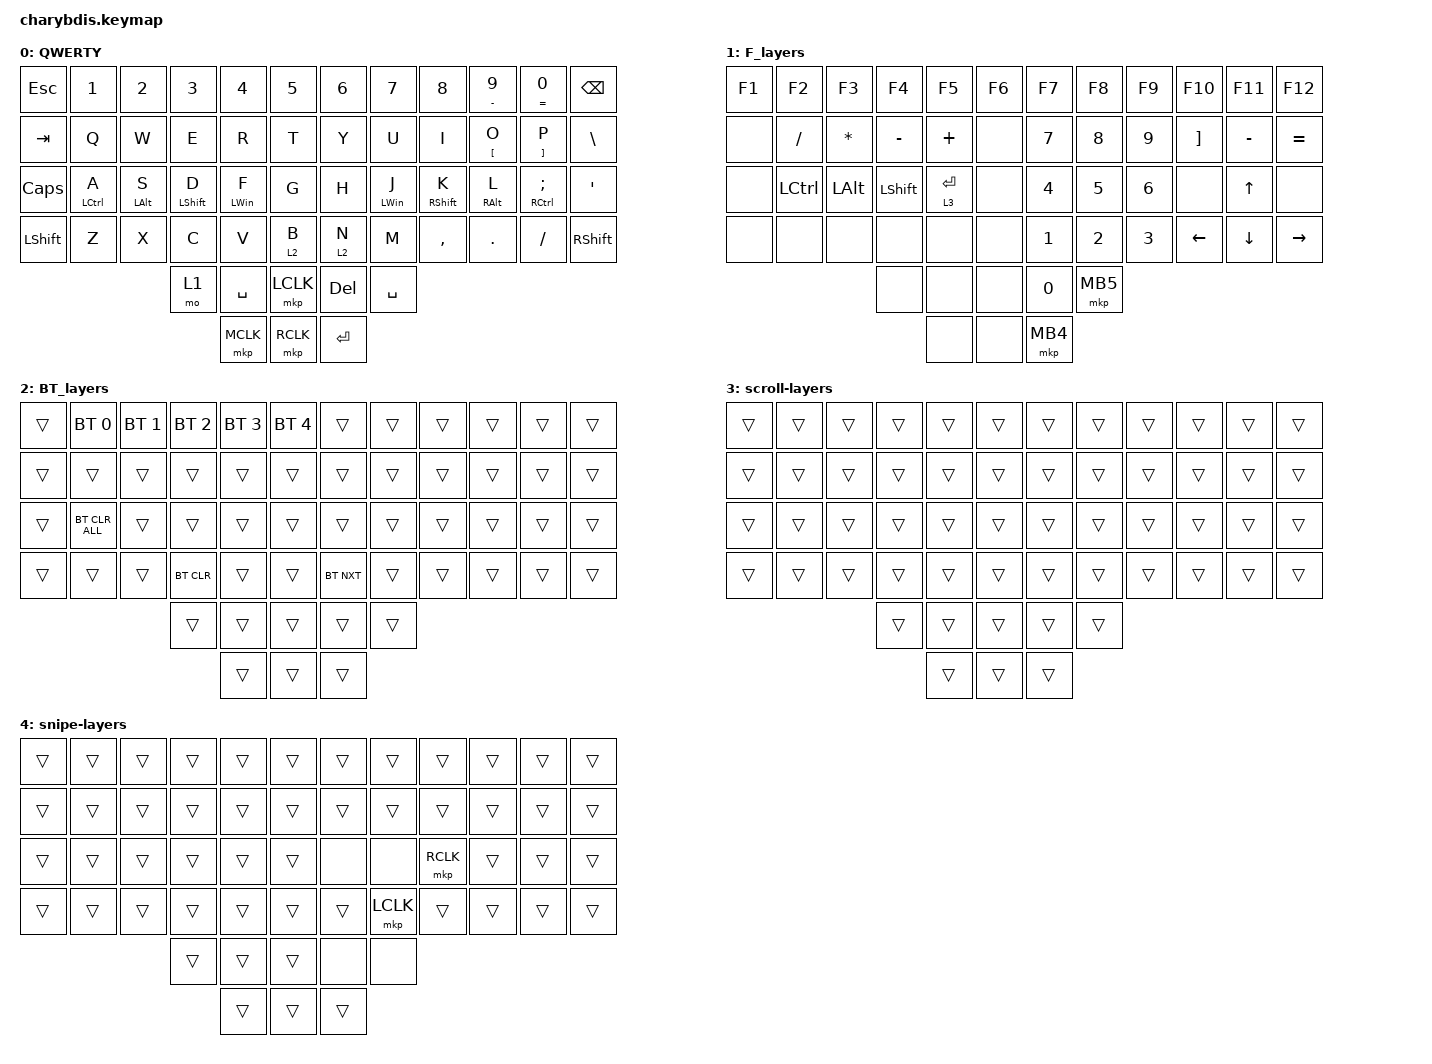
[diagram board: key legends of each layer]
#include <behaviors.dtsi>
#include <dt-bindings/zmk/bt.h>
#include <dt-bindings/zmk/keys.h>
#include <dt-bindings/zmk/pointing.h>
#include <dt-bindings/zmk/rgb.h>

&lt {
    tapping-term-ms = <200>;
    flavor = "tap-preferred";
    quick-tap-ms = <150>;
};

/ {
    macros {
        To1_macro: To1_macro {
            compatible = "zmk,behavior-macro";
            label = "To1_macro";
            #binding-cells = <0>;
            bindings = <&rgb_ug RGB_EFF &rgb_ug RGB_COLOR_HSB(128,100,50) &to 1>;
        };

        To0_macro: To0_macro {
            compatible = "zmk,behavior-macro";
            label = "To0_macro";
            #binding-cells = <0>;
            bindings = <&rgb_ug RGB_EFR &to 0>;
        };

        To2_macro: To2_macro {
            compatible = "zmk,behavior-macro";
            label = "To2_macro";
            #binding-cells = <0>;
            bindings =
                <&to 2>,
                <&macro_wait_time 30>,
                <&rgb_ug RGB_COLOR_HSB(250,100,50)>;
        };
    };

    keymap {
        compatible = "zmk,keymap";

        QWERTY {
            bindings = <
&kp ESC         &kp N1       &kp N2          &kp N3            &kp N4          &kp N5       &kp N6      &kp N7          &kp N8             &mt MINUS N9     &mt EQUAL N0         &kp BACKSPACE
&kp TAB         &kp Q        &kp W           &kp E             &kp R           &kp T        &kp Y       &kp U           &kp I              &mt LBKT O       &mt RIGHT_BRACKET P  &kp BSLH
&kp CAPSLOCK    &mt LCTRL A  &mt LEFT_ALT S  &mt LEFT_SHIFT D  &mt LEFT_WIN F  &kp G        &kp H       &mt LEFT_WIN J  &mt RIGHT_SHIFT K  &mt RIGHT_ALT L  &mt RCTRL SEMI       &kp SQT
&kp LEFT_SHIFT  &kp Z        &kp X           &kp C             &kp V           &lt 2 B      &lt 2 N     &kp M           &kp COMMA          &kp DOT          &kp FSLH             &kp RIGHT_SHIFT
                                             &mo 1             &kp SPACE       &mkp LCLK    &kp DELETE  &kp SPACE
                                                               &mkp MCLK       &mkp RCLK    &kp ENTER
            >;
        };

        F_layers {
            bindings = <
&kp F1  &kp F2     &kp F3        &kp F4      &kp F5       &kp F6    &kp F7        &kp F8        &kp F9        &kp F10   &kp F11    &kp F12
&none   &kp FSLH   &kp ASTERISK  &kp MINUS   &kp PLUS     &none     &kp N7        &kp N8        &kp N9        &kp RBKT  &kp MINUS  &kp EQUAL
&none   &kp LCTRL  &kp LEFT_ALT  &kp LSHIFT  &lt 3 ENTER  &none     &kp NUMBER_4  &kp N5        &kp NUMBER_6  &none     &kp UP     &none
&none   &none      &none         &none       &none        &none     &kp NUMBER_1  &kp NUMBER_2  &kp NUMBER_3  &kp LEFT  &kp DOWN   &kp RIGHT
                                 &none       &none        &none     &kp N0        &mkp MB5
                                             &none        &none     &mkp MB4
            >;
        };

        BT_layers {
            bindings = <
&trans  &bt BT_SEL 0    &bt BT_SEL 1  &bt BT_SEL 2  &bt BT_SEL 3  &bt BT_SEL 4    &trans      &trans  &trans  &trans  &trans  &trans
&trans  &trans          &trans        &trans        &trans        &trans          &trans      &trans  &trans  &trans  &trans  &trans
&trans  &bt BT_CLR_ALL  &trans        &trans        &trans        &trans          &trans      &trans  &trans  &trans  &trans  &trans
&trans  &trans          &trans        &bt BT_CLR    &trans        &trans          &bt BT_NXT  &trans  &trans  &trans  &trans  &trans
                                      &trans        &trans        &trans          &trans      &trans
                                                    &trans        &trans          &trans
            >;
        };

        scroll-layers {
            bindings = <
&trans  &trans  &trans  &trans  &trans  &trans    &trans  &trans  &trans  &trans  &trans  &trans
&trans  &trans  &trans  &trans  &trans  &trans    &trans  &trans  &trans  &trans  &trans  &trans
&trans  &trans  &trans  &trans  &trans  &trans    &trans  &trans  &trans  &trans  &trans  &trans
&trans  &trans  &trans  &trans  &trans  &trans    &trans  &trans  &trans  &trans  &trans  &trans
                        &trans  &trans  &trans    &trans  &trans
                                &trans  &trans    &trans
            >;
        };

        snipe-layers {
            bindings = <
&trans  &trans  &trans  &trans  &trans  &trans    &trans  &trans     &trans     &trans  &trans  &trans
&trans  &trans  &trans  &trans  &trans  &trans    &trans  &trans     &trans     &trans  &trans  &trans
&trans  &trans  &trans  &trans  &trans  &trans    &none   &none      &mkp RCLK  &trans  &trans  &trans
&trans  &trans  &trans  &trans  &trans  &trans    &trans  &mkp LCLK  &trans     &trans  &trans  &trans
                        &trans  &trans  &trans    &none   &none
                                &trans  &trans    &trans
            >;
        };
    };
};
